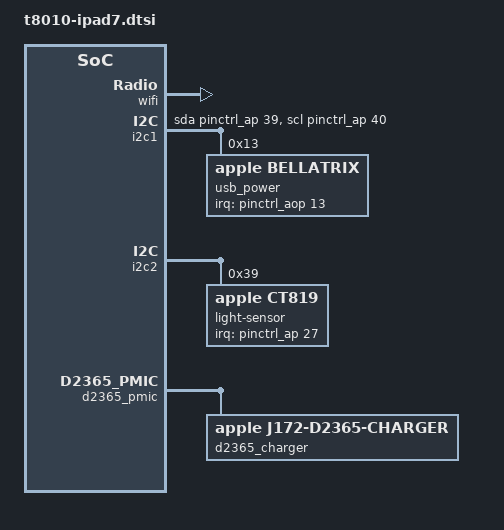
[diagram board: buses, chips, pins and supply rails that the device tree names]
// SPDX-License-Identifier: GPL-2.0+ OR MIT
/*
 * Apple iPad 7 common device tree
 *
 * Copyright (c) 2022, Konrad Dybcio <konradybcio@kernel.org>
 */

/*
 * The iPad 7 seems to be only an iteration over the iPad 6 with some
 * small changes, like the a bigger screen and 1 GiB of RAM more, hence
 * there is little to no differentiation between these 2 generations for
 * now. This file only overrides what differs from t8010-ipad6.dtsi.
 */
#include "t8010-ipad6.dtsi"

&battery_info {
	charge-full-design-microamp-hours = <8557000>;
};

&spi3_nclk {
	clock-frequency = <55384615>;
};

&pcie0 {
	compatible = "apple,j172-pcie", "apple,t8010-pcie";
	apple,preinit-phy-port-mask = <0x4>;
};

&wifi {
	apple,antenna-sku = "XX";
	brcm,board-type = "apple,rudderb";
};

&pinctrl_ap {
	i2c1_gpio_pins: i2c1-gpio-pins {
		pinmux = <APPLE_PINMUX(40, 0)>,
			 <APPLE_PINMUX(39, 0)>;
	};

	touch_display_sync_active: touch-display-sync-active-pins {
		pinmux = <APPLE_PINMUX(176, 1)>,
			 <APPLE_PINMUX(177, 1)>;
	};
};

&bluetooth {
	compatible = "apple,j172-bcm4355c1-bt",
		     "brcm,bcm4355c1-bt";
};

&battery {
	compatible = "ti,bq27545-hdq";
};

&i2c1 {
	pinctrl-0 = <&i2c1_pins>;
	pinctrl-1 = <&i2c1_gpio_pins>;
	pinctrl-names = "default", "gpio";
	resets = <&ps_i2c1>;
	scl-gpios = <&pinctrl_ap 40 (GPIO_ACTIVE_HIGH | GPIO_OPEN_DRAIN)>;
	sda-gpios = <&pinctrl_ap 39 (GPIO_ACTIVE_HIGH | GPIO_OPEN_DRAIN)>;
	status = "okay";

	usb_power: usb-power@13 {
		compatible = "apple,bellatrix";
		reg = <0x13>;
		interrupt-parent = <&pinctrl_aop>;
		interrupts = <13 IRQ_TYPE_LEVEL_LOW>;
	};
};

&i2c2 {
	status = "okay";

	light-sensor@39 {
		compatible = "apple,ct819", "amstaos,tsl2581";
		reg = <0x39>;
		interrupts-extended = <&pinctrl_ap 27 IRQ_TYPE_LEVEL_LOW>;
	};
};

&d2365_pmic {
	d2365_charger: charger@180 {
		compatible = "apple,j172-d2365-charger", "apple,d2365-charger";
		reg = <0x180 0x1e>, <0xa00 0x0d>;
		reg-names = "status", "control";
		power-supplies = <&usb_power>;
	};
};

&touchscreen {
	compatible = "apple,j172-touchscreen";
	spi-max-frequency = <24000000>;
	spi-cs-setup-delay-ns = <10000>;
	spi-cs-hold-delay-ns = <10000>;
	spi-cs-inactive-delay-ns = <10000>;
	pinctrl-names = "display-sync-active";
	pinctrl-0 = <&touch_display_sync_active>;
	display-sync-gpios = <&pinctrl_ap 176 GPIO_ACTIVE_HIGH>;
	display-sync1-gpios = <&pinctrl_ap 177 GPIO_ACTIVE_HIGH>;
	firmware-name = "apple/dfrmtfw-j172-k1f19-6.bin";
	touchscreen-size-x = <1620>;
	touchscreen-size-y = <2160>;
};
